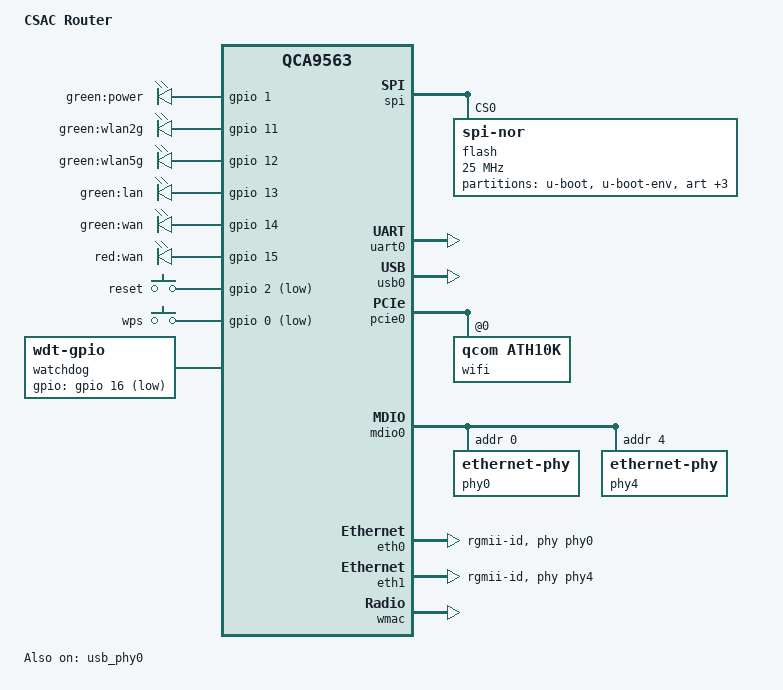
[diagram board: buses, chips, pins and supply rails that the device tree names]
// CSAC路由器设备树文件
// 硬件配置: QCA9563 + QCA8337 + QCA9886, 128MB内存 + 16MB闪存
// 作者: AiPy
// 日期: 2026-01-31
#include "qca956x.dtsi"
#include <dt-bindings/gpio/gpio.h>
#include <dt-bindings/input/input.h>
/ {
	compatible = "csac,csac-router", "qca,qca9563";
	model = "CSAC Router";
	aliases {
		led-boot = &led_power;
		led-failsafe = &led_power;
		led-running = &led_power;
		led-upgrade = &led_power;
		serial0 = &uart0;
	};
	leds {
		compatible = "gpio-leds";
		led_power: power {
			label = "green:power";
			gpios = <&gpio 1 GPIO_ACTIVE_HIGH>;
			default-state = "on";
		};
		wlan2g {
			label = "green:wlan2g";
			gpios = <&gpio 11 GPIO_ACTIVE_HIGH>;
			linux,default-trigger = "phy0tpt";
		};
		wlan5g {
			label = "green:wlan5g";
			gpios = <&gpio 12 GPIO_ACTIVE_HIGH>;
			linux,default-trigger = "phy1tpt";
		};
		lan {
			label = "green:lan";
			gpios = <&gpio 13 GPIO_ACTIVE_HIGH>;
		};
		wan {
			label = "green:wan";
			gpios = <&gpio 14 GPIO_ACTIVE_HIGH>;
		};
		wan_fail {
			label = "red:wan";
			gpios = <&gpio 15 GPIO_ACTIVE_HIGH>;
		};
	};
	keys {
		compatible = "gpio-keys";
		reset {
			label = "reset";
			gpios = <&gpio 2 GPIO_ACTIVE_LOW>;
			linux,code = <KEY_RESTART>;
		};
		wps {
			label = "wps";
			gpios = <&gpio 0 GPIO_ACTIVE_LOW>;
			linux,code = <KEY_WPS_BUTTON>;
		};
	};
	watchdog {
		compatible = "linux,wdt-gpio";
		gpios = <&gpio 16 GPIO_ACTIVE_LOW>;
		hw_algo = "toggle";
		hw_margin_ms = <10000>;
		always-running;
	};
};
&spi {
	status = "okay";
	flash@0 {
		compatible = "jedec,spi-nor";
		reg = <0>;
		spi-max-frequency = <25000000>;
		partitions {
			compatible = "fixed-partitions";
			#address-cells = <1>;
			#size-cells = <1>;
			partition@0 {
				label = "u-boot";
				reg = <0x000000 0x020000>;
				read-only;
			};
			partition@20000 {
				label = "u-boot-env";
				reg = <0x020000 0x010000>;
			};
			partition@30000 {
				label = "art";
				reg = <0x030000 0x010000>;
				read-only;
				compatible = "nvmem-cells";
				#address-cells = <1>;
				#size-cells = <1>;
				calibration_ath9k: calibration@1000 {
					reg = <0x1000 0x440>;
				};
				calibration_ath10k: calibration@5000 {
					reg = <0x5000 0x844>;
				};
			};
			partition@40000 {
				label = "kernel";
				reg = <0x040000 0x100000>;
			};
			partition@140000 {
				label = "rootfs";
				reg = <0x140000 0xea0000>;
			};
			partition@fe0000 {
				label = "rootfs_data";
				reg = <0xfe0000 0x020000>;
			};
		};
	};
};
&uart0 {
	status = "okay";
};
&usb_phy0 {
	status = "okay";
};
&usb0 {
	status = "okay";
};
&pcie0 {
	status = "okay";
	wifi@0,0 {
		compatible = "qcom,ath10k";
		reg = <0x0000 0 0 0 0>;
		nvmem-cells = <&calibration_ath10k>;
		nvmem-cell-names = "calibration";
		qcom,ath10k-calibration-variant = "CSAC-Router";
	};
};
&mdio0 {
	status = "okay";
	phy0: ethernet-phy@0 {
		reg = <0>;
		phy-mode = "rgmii-id";
	};
	phy4: ethernet-phy@4 {
		reg = <4>;
		phy-mode = "rgmii-id";
	};
};
&eth0 {
	status = "okay";
	phy-handle = <&phy0>;
	phy-mode = "rgmii-id";
	nvmem-cells = <&macaddr_art_0>;
	nvmem-cell-names = "mac-address";
};
&eth1 {
	status = "okay";
	phy-handle = <&phy4>;
	phy-mode = "rgmii-id";
	nvmem-cells = <&macaddr_art_6>;
	nvmem-cell-names = "mac-address";
};
&wmac {
	status = "okay";
	mtd-cal-data = <&calibration_ath9k 0x1000>;
};
&art {
	compatible = "nvmem-cells";
	#address-cells = <1>;
	#size-cells = <1>;
	macaddr_art_0: macaddr@0 {
		reg = <0x0 0x6>;
	};
	macaddr_art_6: macaddr@6 {
		reg = <0x6 0x6>;
	};
};
